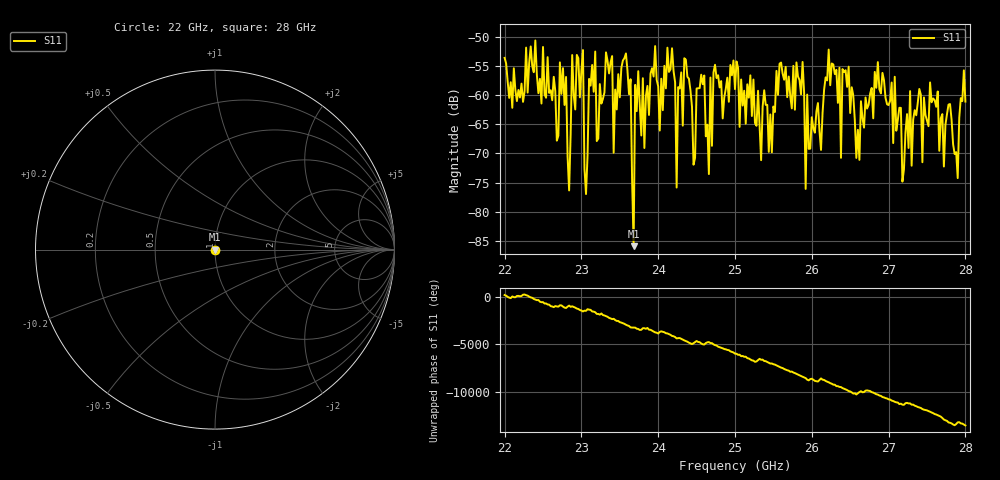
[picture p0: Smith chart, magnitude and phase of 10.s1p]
#  HZ  S  RI  R  50.00
! Rohde & Schwarz ZVA40 4Ports - Version 3.90 - 1145.1110k42 SN: 100403
! Date: 2023-10-04 11:45:02
! Measurement: S12
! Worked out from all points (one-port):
!   301 points, 22 GHz to 28 GHz, reference 50 ohm
!   lowest |S11| = -85.9 dB at 23.68 GHz (marker M1), VSWR 1.00, Z = 50 - j4.54e-05 ohm
!   |S11| at or under -10 dB: start of sweep to end of sweep
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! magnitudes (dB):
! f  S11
! 22 GHz  -53.6
! 22.76 GHz  -55.4
! 22.84 GHz  -76.4
! 22.88 GHz  -53.1
! 23.02 GHz  -52.3
! 23.06 GHz  -77.0
! 23.18 GHz  -52.5
! 23.2 GHz  -67.9
! 23.5 GHz  -60.4
! 23.64 GHz  -57.3
! 23.68 GHz  -85.9
! 23.74 GHz  -55.9
! 24.18 GHz  -52.0
! 24.24 GHz  -75.9
! 24.26 GHz  -58.6
! 24.46 GHz  -71.9
! 24.6 GHz  -56.6
! 24.66 GHz  -73.5
! 24.68 GHz  -57.0
! 25 GHz  -59.0
! 25.76 GHz  -55.0
! 25.88 GHz  -54.3
! 25.92 GHz  -76.1
! 25.94 GHz  -59.9
! 26.22 GHz  -52.2
! 26.5 GHz  -63.1
! 27.26 GHz  -69.1
! 28 GHz  -61.1
